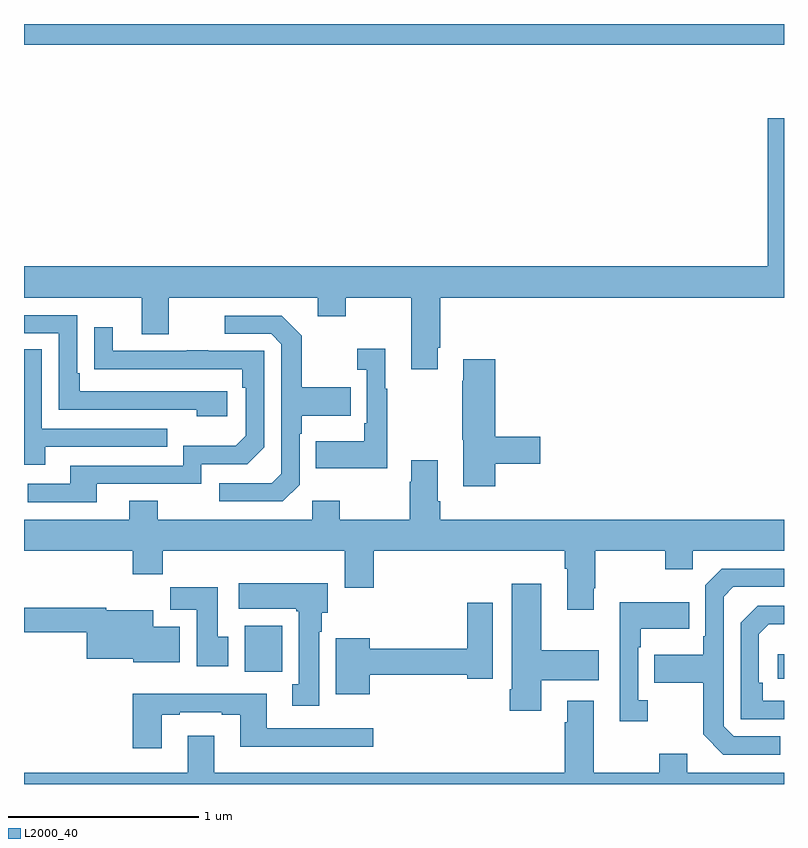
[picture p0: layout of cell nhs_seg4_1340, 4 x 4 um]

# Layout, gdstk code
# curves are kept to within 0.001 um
import gdstk
lib = gdstk.Library(unit=1e-6, precision=1e-09)
def R(c, l, rs):  # rectangles x0, y0, x1, y1
    for r in rs: c.add(gdstk.rectangle(r[:2], r[2:], *l))
def P(c, l, *ps):  # polygons
    for p in ps: c.add(gdstk.Polygon(p, *l))
L2000_40 = (2000, 40)

nhs_seg4_1340 = lib.new_cell('nhs_seg4_1340')
R(nhs_seg4_1340, L2000_40, [(182.967,821.454,183,821.584), (180.161,821.492,180.358,821.734), (179,824.792,183,824.9)])
P(nhs_seg4_1340, L2000_40, [(181.177,823.195),(181.19,823.195),(181.19,823.46),(183,823.46),(183,824.404),(182.915,824.404),(182.915,823.624),(179,823.624),(179,823.46),(179.621,823.46),(179.621,823.266),(179.761,823.266),(179.761,823.46),(180.545,823.46),(180.545,823.361),(180.693,823.361),(180.693,823.46),(181.037,823.46),(181.037,823.083),(181.177,823.083)],
  [(180.07,822.966),(179.293,822.966),(179.293,823.063),(179.28,823.063),(179.28,823.368),(179,823.368),(179,823.272),(179.184,823.272),(179.184,822.87),(179.909,822.87),(179.909,822.836),(180.07,822.836)],
  [(180.45,822.474),(180.45,822.743),(180.463,822.743),(180.463,822.839),(180.719,822.839),(180.719,822.987),(180.463,822.987),(180.463,823.259),(180.357,823.365),(180.057,823.365),(180.057,823.269),(180.3,823.269),(180.354,823.215),(180.354,822.534),(180.303,822.483),(180.027,822.483),(180.027,822.387),(180.363,822.387)],
  [(179.383,822.48),(179.934,822.48),(179.934,822.582),(180.174,822.582),(180.264,822.672),(180.264,823.179),(179.969,823.179),(179.969,823.184),(179.857,823.184),(179.857,823.179),(179.467,823.179),(179.467,823.303),(179.371,823.303),(179.371,823.084),(180.148,823.083),(180.148,822.986),(180.168,822.986),(180.168,822.732),(180.115,822.679),(179.838,822.679),(179.838,822.576),(179.243,822.576),(179.243,822.48),(179.019,822.48),(179.019,822.384),(179.383,822.384)],
  [(180.913,822.979),(180.901,822.979),(180.901,823.192),(180.753,823.192),(180.753,823.079),(180.804,823.079),(180.804,822.799),(180.792,822.799),(180.792,822.703),(180.535,822.703),(180.535,822.563),(180.913,822.563)],
  [(179.113,822.675),(179.753,822.675),(179.753,822.771),(179.094,822.771),(179.094,823.187),(179,823.187),(179,822.581),(179.113,822.581)],
  [(181.481,822.586),(181.717,822.586),(181.717,822.728),(181.481,822.728),(181.481,823.135),(181.313,823.135),(181.313,823.022),(181.306,823.022),(181.306,822.711),(181.313,822.711),(181.313,822.468),(181.481,822.468)],
  [(181.999,821.929),(182.007,821.929),(182.007,822.128),(182.374,822.128),(182.374,822.029),(182.52,822.029),(182.52,822.128),(183,822.128),(183,822.292),(181.19,822.292),(181.19,822.388),(181.177,822.388),(181.177,822.604),(181.037,822.604),(181.037,822.491),(181.03,822.491),(181.03,822.292),(180.663,822.292),(180.663,822.391),(180.516,822.391),(180.516,822.292),(179.703,822.292),(179.703,822.391),(179.555,822.391),(179.555,822.292),(179,822.292),(179,822.128),(179.573,822.128),(179.573,822.004),(179.729,822.004),(179.729,822.128),(180.689,822.128),(180.689,821.934),(180.842,821.934),(180.842,822.128),(181.847,822.128),(181.847,822.032),(181.859,822.032),(181.859,821.817),(181.999,821.817)],
  [(182.98,821.151),(182.736,821.151),(182.682,821.205),(182.682,821.886),(182.733,821.937),(183,821.937),(183,822.033),(182.673,822.033),(182.586,821.946),(182.586,821.677),(182.574,821.677),(182.574,821.581),(182.317,821.581),(182.317,821.434),(182.574,821.434),(182.574,821.161),(182.679,821.055),(182.98,821.055)],
  [(180.553,821.702),(180.568,821.702),(180.568,821.802),(180.598,821.802),(180.598,821.956),(180.129,821.956),(180.129,821.822),(180.433,821.822),(180.433,821.809),(180.446,821.809),(180.446,821.426),(180.413,821.426),(180.413,821.313),(180.553,821.313)],
  [(181.723,821.447),(182.026,821.447),(182.026,821.605),(181.723,821.605),(181.723,821.953),(181.568,821.953),(181.568,821.398),(181.556,821.398),(181.556,821.286),(181.723,821.286)],
  [(180.076,821.676),(180.019,821.676),(180.019,821.935),(179.77,821.935),(179.77,821.816),(179.909,821.816),(179.909,821.52),(180.076,821.52)],
  [(182.284,821.342),(182.232,821.342),(182.232,821.621),(182.245,821.621),(182.245,821.717),(182.501,821.717),(182.501,821.857),(182.136,821.857),(182.136,821.229),(182.284,821.229)],
  [(180.82,821.476),(181.334,821.476),(181.334,821.453),(181.468,821.453),(181.468,821.854),(181.334,821.854),(181.334,821.612),(180.82,821.612),(180.82,821.668),(180.641,821.668),(180.641,821.372),(180.82,821.372)],
  [(183,821.337),(182.888,821.337),(182.888,821.434),(182.868,821.434),(182.868,821.688),(182.921,821.741),(183,821.741),(183,821.838),(182.862,821.838),(182.772,821.748),(182.772,821.241),(183,821.241)],
  [(179.821,821.728),(179.68,821.728),(179.68,821.815),(179.434,821.815),(179.434,821.827),(179,821.827),(179,821.698),(179.33,821.698),(179.33,821.558),(179.574,821.558),(179.574,821.54),(179.821,821.54)],
  [(179.725,821.265),(179.821,821.265),(179.821,821.277),(180.041,821.277),(180.041,821.265),(180.137,821.265),(180.137,821.096),(180.838,821.096),(180.838,821.193),(180.277,821.193),(180.277,821.374),(179.573,821.374),(179.573,821.088),(179.725,821.088)],
  [(183,820.96),(182.491,820.96),(182.491,821.059),(182.344,821.059),(182.344,820.96),(181.999,820.96),(181.999,821.338),(181.859,821.338),(181.859,821.225),(181.847,821.225),(181.847,820.96),(180.001,820.96),(180.001,821.155),(179.861,821.155),(179.861,820.96),(179,820.96),(179,820.9),(183,820.9)])

lib.write_gds('nhs_seg4_1340.gds')
